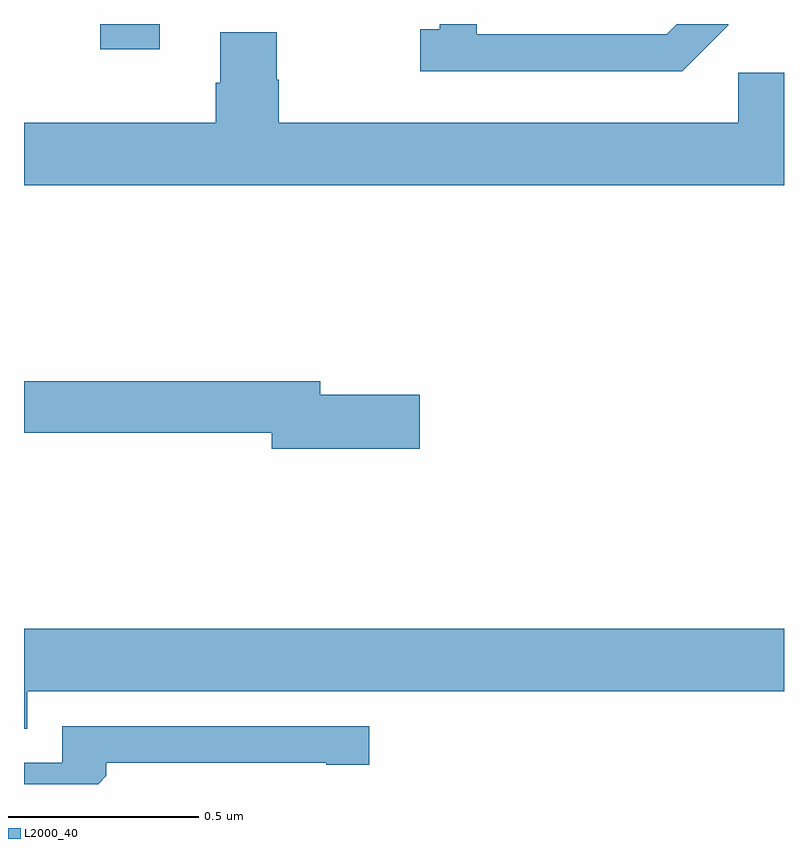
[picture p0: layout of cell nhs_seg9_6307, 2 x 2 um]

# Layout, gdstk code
import gdstk
lib = gdstk.Library(unit=1e-6, precision=1e-09)
def R(c, l, rs):  # rectangles x0, y0, x1, y1
    for r in rs: c.add(gdstk.rectangle(r[:2], r[2:], *l))
def P(c, l, *ps):  # polygons
    for p in ps: c.add(gdstk.Polygon(p, *l))
L2000_40 = (2000, 40)

nhs_seg9_6307 = lib.new_cell('nhs_seg9_6307')
R(nhs_seg9_6307, L2000_40, [(190.201,1207.434,190.357,1207.5)])
P(nhs_seg9_6307, L2000_40, [(191.853,1207.497),(191.853,1207.5),(191.718,1207.5),(191.691,1207.473),(191.191,1207.473),(191.191,1207.5),(191.094,1207.5),(191.094,1207.486),(191.043,1207.486),(191.043,1207.376),(191.732,1207.376)],
  [(192,1207.372),(191.88,1207.372),(191.88,1207.24),(190.67,1207.24),(190.67,1207.353),(190.665,1207.353),(190.665,1207.478),(190.517,1207.478),(190.517,1207.346),(190.505,1207.346),(190.505,1207.24),(190,1207.24),(190,1207.076),(192,1207.076)],
  [(191.041,1206.524),(190.78,1206.524),(190.78,1206.56),(190,1206.56),(190,1206.424),(190.652,1206.424),(190.652,1206.382),(191.041,1206.382)],
  [(190.009,1205.744),(192,1205.744),(192,1205.908),(190,1205.908),(190,1205.645),(190.009,1205.645)],
  [(190.217,1205.522),(190.217,1205.556),(190.796,1205.556),(190.796,1205.551),(190.909,1205.551),(190.909,1205.652),(190.101,1205.652),(190.101,1205.556),(190,1205.556),(190,1205.5),(190.195,1205.5)])

lib.write_gds('nhs_seg9_6307.gds')
